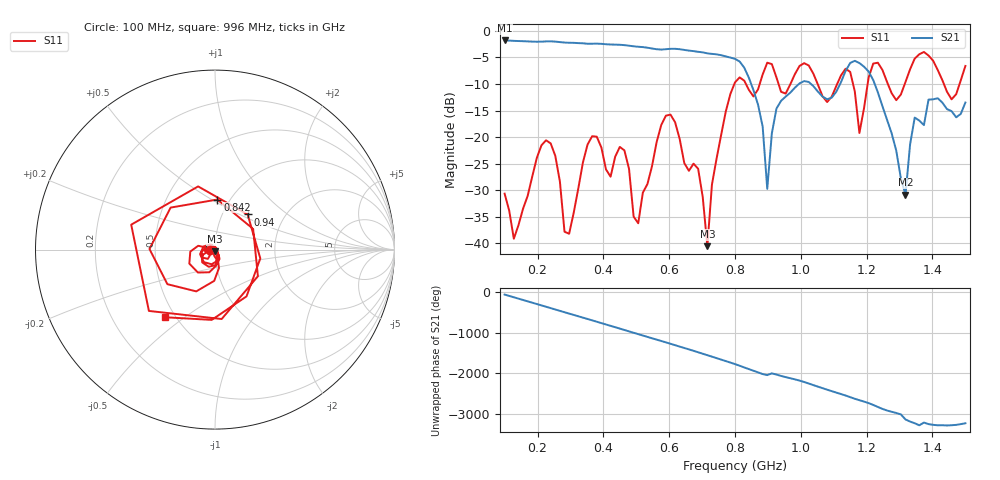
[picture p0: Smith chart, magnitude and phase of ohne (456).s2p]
! NanoVNA-App
! Date: 2025-09-25 14:24:21
! Start: 100MHz Stop: 1,5GHz Points: 101
! S-Parameter data: F S11 S21 S12 S22
# Hz S RI R 50
!  Frequency  S11_Real  S11_Imag  S21_Real  S21_Imag  S12_Real  S12_Imag  S22_Real  S22_Imag
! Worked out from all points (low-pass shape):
!   101 points, 100 MHz to 1.5 GHz, reference 50 ohm
!   highest |S21| = -1.79 dB at 100 MHz (marker M1); lowest = -30.9 dB at 1.318 GHz (marker M2)
!   |S21| within 3 dB of the highest: start of sweep to 771.8 MHz
!   lowest |S11| = -40.5 dB at 716 MHz (marker M3), VSWR 1.02, Z = 49.9 - j0.929 ohm
!   |S11| at or under -10 dB: start of sweep to 798 MHz; 833.2 MHz to 875.1 MHz (41.84 MHz wide, 4.9 % of centre); 1.051 GHz to 1.11 GHz (59.16 MHz wide, 5.47 % of centre) (the widest 3 of 7)
!   S12 and S22 are empty: the file has one direction only
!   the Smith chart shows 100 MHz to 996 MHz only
!   S11 on the Smith chart (normalised r, x): 100 MHz: 0.94, -0.01; 842 MHz: 0.88, +0.53; 940 MHz: 1.31, +0.55; 996 MHz: 0.44, -0.43
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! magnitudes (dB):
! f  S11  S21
! 100 MHz  -30.6  -1.8
! 128 MHz  -39.1  -1.9
! 226 MHz  -20.6  -2.0
! 296 MHz  -38.2  -2.2
! 338 MHz  -24.8  -2.3
! 464 MHz  -22.5  -2.7
! 506 MHz  -36.2  -3.0
! 576 MHz  -17.7  -3.5
! 688 MHz  -26.0  -3.9
! 716 MHz  -40.5  -4.2
! 800 MHz  -9.7  -5.2
! 842 MHz  -11.1  -8.8
! 898 MHz  -6.0  -29.7
! 940 MHz  -11.5  -13.2
! 996 MHz  -6.6  -9.9
! 1.038 GHz  -8.0  -10.4
! 1.178 GHz  -19.2  -6.1
! 1.22 GHz  -6.2  -9.3
! 1.276 GHz  -11.7  -19.3
! 1.318 GHz  -9.6  -30.9
! 1.346 GHz  -5.2  -16.3
! 1.5 GHz  -6.6  -13.5
